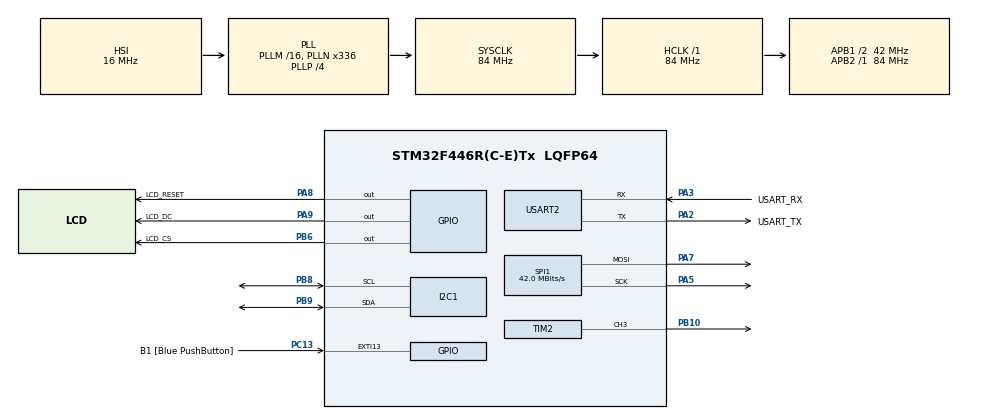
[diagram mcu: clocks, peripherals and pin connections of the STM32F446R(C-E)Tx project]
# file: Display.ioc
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Mcu.Family=STM32F4
Mcu.Name=STM32F446R(C-E)Tx
Mcu.Package=LQFP64
NVIC.PriorityGroup=NVIC_PRIORITYGROUP_0
PA13.GPIO_Label=TMS
PA13.Mode=Serial_Wire
PA13.Signal=SYS_JTMS-SWDIO
PA14.GPIO_Label=TCK
PA14.Mode=Serial_Wire
PA14.Signal=SYS_JTCK-SWCLK
PA2.GPIO_Label=USART_TX
PA2.Mode=Asynchronous
PA2.Signal=USART2_TX
PA3.GPIO_Label=USART_RX
PA3.Mode=Asynchronous
PA3.Signal=USART2_RX
PA5.Mode=TX_Only_Simplex_Unidirect_Master
PA5.Signal=SPI1_SCK
PA7.Mode=TX_Only_Simplex_Unidirect_Master
PA7.Signal=SPI1_MOSI
PA8.GPIO_Label=LCD_RESET
PA8.PinState=GPIO_PIN_SET
PA8.Signal=GPIO_Output
PA9.GPIO_Label=LCD_DC
PA9.PinState=GPIO_PIN_SET
PA9.Signal=GPIO_Output
PB10.Signal=S_TIM2_CH3
PB6.GPIO_Label=LCD_CS
PB6.PinState=GPIO_PIN_SET
PB6.Signal=GPIO_Output
PB8.GPIO_Pu=GPIO_PULLUP
PB8.Mode=I2C
PB8.Signal=I2C1_SCL
PB9.GPIO_Pu=GPIO_PULLUP
PB9.Mode=I2C
PB9.Signal=I2C1_SDA
PC13.GPIO_Label=B1 [Blue PushButton]
PC13.GPIO_ModeDefaultEXTI=GPIO_MODE_IT_FALLING
PC13.Signal=GPXTI13
PC14-OSC32_IN.Mode=LSE-External-Oscillator
PC14-OSC32_IN.Signal=RCC_OSC32_IN
PC15-OSC32_OUT.Mode=LSE-External-Oscillator
PC15-OSC32_OUT.Signal=RCC_OSC32_OUT
PH0-OSC_IN.Mode=HSE-External-Oscillator
PH0-OSC_IN.Signal=RCC_OSC_IN
PH1-OSC_OUT.Mode=HSE-External-Oscillator
PH1-OSC_OUT.Signal=RCC_OSC_OUT
ProjectManager.HeapSize=0x200
ProjectManager.StackSize=0x400
ProjectManager.TargetToolchain=STM32CubeIDE
RCC.48MHZClocksFreq_Value=84000000
RCC.AHBFreq_Value=84000000
RCC.APB1CLKDivider=RCC_HCLK_DIV2
RCC.APB1Freq_Value=42000000
RCC.APB1TimFreq_Value=84000000
RCC.APB2Freq_Value=84000000
RCC.APB2TimFreq_Value=84000000
RCC.CortexFreq_Value=84000000
RCC.FLatency-AdvancedSettings=FLASH_LATENCY_2
RCC.HCLKFreq_Value=84000000
RCC.HSE_VALUE=8000000
RCC.HSI_VALUE=16000000
RCC.PLLN=336
RCC.PLLP=RCC_PLLP_DIV4
RCC.SYSCLKFreq_VALUE=84000000
RCC.SYSCLKSource=RCC_SYSCLKSOURCE_PLLCLK
RCC.USBFreq_Value=168000000
RCC.VCOOutputFreq_Value=336000000
SH.S_TIM2_CH3.0=TIM2_CH3,PWM Generation3 CH3
SPI1.CalculateBaudRate=42.0 MBits/s
SPI1.Direction=SPI_DIRECTION_2LINES
SPI1.Mode=SPI_MODE_MASTER
SPI1.VirtualType=VM_MASTER
TIM2.Channel-PWM\ Generation3\ CH3=TIM_CHANNEL_3
TIM2.Period=999
USART2.VirtualMode=VM_ASYNC
board=NUCLEO-F446RE

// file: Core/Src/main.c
/* USER CODE BEGIN Header */
/**
 ******************************************************************************
 * @file           : main.c
 * @brief          : Main program body
 ******************************************************************************
 * @attention
 *
 * Copyright (c) 2026 STMicroelectronics.
 * All rights reserved.
 *
 * This software is licensed under terms that can be found in the LICENSE file
 * in the root directory of this software component.
 * If no LICENSE file comes with this software, it is provided AS-IS.
 *
 ******************************************************************************
 */
/* USER CODE END Header */
#include "main.h"

/* USER CODE BEGIN Includes */
#include <stdio.h>
#include "ssd1306.h"
#include "scd41.h"
#include "ili9488.h"
/* USER CODE END Includes */

I2C_HandleTypeDef hi2c1;

SPI_HandleTypeDef hspi1;

TIM_HandleTypeDef htim2;

UART_HandleTypeDef huart2;

void SystemClock_Config(void);
static void MX_GPIO_Init(void);
static void MX_I2C1_Init(void);
static void MX_USART2_UART_Init(void);
static void MX_SPI1_Init(void);
static void MX_TIM2_Init(void);

/* USER CODE BEGIN 0 */
int _write(int file, char *ptr, int len) {
	HAL_UART_Transmit(&huart2, (uint8_t*) ptr, len, HAL_MAX_DELAY);
	return len;
}

/* USER CODE END 0 */

int main(void) {

	/* MCU Configuration--------------------------------------------------------*/

	/* Reset of all peripherals, Initializes the Flash interface and the Systick. */
	HAL_Init();

	/* Configure the system clock */
	SystemClock_Config();

	/* Initialize all configured peripherals */
	MX_GPIO_Init();
	MX_I2C1_Init();
	MX_USART2_UART_Init();
	MX_SPI1_Init();
	MX_TIM2_Init();
	/* USER CODE BEGIN 2 */
	if (SSD1306_Init(&hi2c1) == HAL_OK) {
		printf("OLED detected!\r\n");
		SSD1306_UpdateScreen(&hi2c1);

	} else {
		printf("OLED NOT detected!\r\n");
	}

	if (SCD41_Init(&hi2c1) == SCD41_OK) {
		printf("CO2 Sensor detected! Starting measurement.\r\n");
		SCD41_StartMeasurement(&hi2c1);
	} else {
		printf("CO2 Sensor not detected.\r\n");
	}

	HAL_TIM_PWM_Start(&htim2, TIM_CHANNEL_3);
	ILI9488_SetBrightness(&htim2, 100);
	ILI9488_Init(&hspi1);
	printf("SPI Display ready!\r\n");
	ILI9488_DrawDashboardBackground(&hspi1);

	SCD41_Data scd_data;
	char co2_str[20];
	char temp_str[20];
	char humidity_str[20];

	/* USER CODE END 2 */

	/* Infinite loop */
	/* USER CODE BEGIN WHILE */
	while (1) {

		if (SCD41_DataReady(&hi2c1) == SCD41_OK) {
			if (SCD41_ReadMeasurement(&hi2c1, &scd_data) == SCD41_OK) {
				printf("CO2: %u ppm | T: %.2f C | RH: %.2f %%\r\n",
						scd_data.co2, scd_data.temperature, scd_data.humidity);
				sprintf(co2_str, "CO2: %u ppm", scd_data.co2);
				sprintf(temp_str, "Temp: %.1f C", scd_data.temperature);
				sprintf(humidity_str, "Hum: %.1f %%", scd_data.humidity);

				ILI9488_DrawDashboardData(&hspi1, scd_data);
			}
		}

		HAL_Delay(1000);

		/* USER CODE END WHILE */

	}
}

void SystemClock_Config(void) {
	RCC_OscInitTypeDef RCC_OscInitStruct = { 0 };
	RCC_ClkInitTypeDef RCC_ClkInitStruct = { 0 };

	/** Configure the main internal regulator output voltage
	 */
	__HAL_RCC_PWR_CLK_ENABLE();
	__HAL_PWR_VOLTAGESCALING_CONFIG(PWR_REGULATOR_VOLTAGE_SCALE3);

	/** Initializes the RCC Oscillators according to the specified parameters
	 * in the RCC_OscInitTypeDef structure.
	 */
	RCC_OscInitStruct.OscillatorType = RCC_OSCILLATORTYPE_HSI;
	RCC_OscInitStruct.HSIState = RCC_HSI_ON;
	RCC_OscInitStruct.HSICalibrationValue = RCC_HSICALIBRATION_DEFAULT;
	RCC_OscInitStruct.PLL.PLLState = RCC_PLL_ON;
	RCC_OscInitStruct.PLL.PLLSource = RCC_PLLSOURCE_HSI;
	RCC_OscInitStruct.PLL.PLLM = 16;
	RCC_OscInitStruct.PLL.PLLN = 336;
	RCC_OscInitStruct.PLL.PLLP = RCC_PLLP_DIV4;
	RCC_OscInitStruct.PLL.PLLQ = 2;
	RCC_OscInitStruct.PLL.PLLR = 2;
	if (HAL_RCC_OscConfig(&RCC_OscInitStruct) != HAL_OK) {
		Error_Handler();
	}

	/** Initializes the CPU, AHB and APB buses clocks
	 */
	RCC_ClkInitStruct.ClockType = RCC_CLOCKTYPE_HCLK | RCC_CLOCKTYPE_SYSCLK
			| RCC_CLOCKTYPE_PCLK1 | RCC_CLOCKTYPE_PCLK2;
	RCC_ClkInitStruct.SYSCLKSource = RCC_SYSCLKSOURCE_PLLCLK;
	RCC_ClkInitStruct.AHBCLKDivider = RCC_SYSCLK_DIV1;
	RCC_ClkInitStruct.APB1CLKDivider = RCC_HCLK_DIV2;
	RCC_ClkInitStruct.APB2CLKDivider = RCC_HCLK_DIV1;

	if (HAL_RCC_ClockConfig(&RCC_ClkInitStruct, FLASH_LATENCY_2) != HAL_OK) {
		Error_Handler();
	}
}

static void MX_I2C1_Init(void) {

	hi2c1.Instance = I2C1;
	hi2c1.Init.ClockSpeed = 100000;
	hi2c1.Init.DutyCycle = I2C_DUTYCYCLE_2;
	hi2c1.Init.OwnAddress1 = 0;
	hi2c1.Init.AddressingMode = I2C_ADDRESSINGMODE_7BIT;
	hi2c1.Init.DualAddressMode = I2C_DUALADDRESS_DISABLE;
	hi2c1.Init.OwnAddress2 = 0;
	hi2c1.Init.GeneralCallMode = I2C_GENERALCALL_DISABLE;
	hi2c1.Init.NoStretchMode = I2C_NOSTRETCH_DISABLE;
	if (HAL_I2C_Init(&hi2c1) != HAL_OK) {
		Error_Handler();
	}

}

static void MX_SPI1_Init(void) {

	/* SPI1 parameter configuration*/
	hspi1.Instance = SPI1;
	hspi1.Init.Mode = SPI_MODE_MASTER;
	hspi1.Init.Direction = SPI_DIRECTION_2LINES;
	hspi1.Init.DataSize = SPI_DATASIZE_8BIT;
	hspi1.Init.CLKPolarity = SPI_POLARITY_LOW;
	hspi1.Init.CLKPhase = SPI_PHASE_1EDGE;
	hspi1.Init.NSS = SPI_NSS_SOFT;
	hspi1.Init.BaudRatePrescaler = SPI_BAUDRATEPRESCALER_2;
	hspi1.Init.FirstBit = SPI_FIRSTBIT_MSB;
	hspi1.Init.TIMode = SPI_TIMODE_DISABLE;
	hspi1.Init.CRCCalculation = SPI_CRCCALCULATION_DISABLE;
	hspi1.Init.CRCPolynomial = 10;
	if (HAL_SPI_Init(&hspi1) != HAL_OK) {
		Error_Handler();
	}

}

static void MX_TIM2_Init(void) {

	TIM_MasterConfigTypeDef sMasterConfig = { 0 };
	TIM_OC_InitTypeDef sConfigOC = { 0 };

	htim2.Instance = TIM2;
	htim2.Init.Prescaler = 0;
	htim2.Init.CounterMode = TIM_COUNTERMODE_UP;
	htim2.Init.Period = 999;
	htim2.Init.ClockDivision = TIM_CLOCKDIVISION_DIV1;
	htim2.Init.AutoReloadPreload = TIM_AUTORELOAD_PRELOAD_DISABLE;
	if (HAL_TIM_PWM_Init(&htim2) != HAL_OK) {
		Error_Handler();
	}
	sMasterConfig.MasterOutputTrigger = TIM_TRGO_RESET;
	sMasterConfig.MasterSlaveMode = TIM_MASTERSLAVEMODE_DISABLE;
	if (HAL_TIMEx_MasterConfigSynchronization(&htim2, &sMasterConfig)
			!= HAL_OK) {
		Error_Handler();
	}
	sConfigOC.OCMode = TIM_OCMODE_PWM1;
	sConfigOC.Pulse = 0;
	sConfigOC.OCPolarity = TIM_OCPOLARITY_HIGH;
	sConfigOC.OCFastMode = TIM_OCFAST_DISABLE;
	if (HAL_TIM_PWM_ConfigChannel(&htim2, &sConfigOC, TIM_CHANNEL_3)
			!= HAL_OK) {
		Error_Handler();
	}
	HAL_TIM_MspPostInit(&htim2);

}

static void MX_USART2_UART_Init(void) {

	huart2.Instance = USART2;
	huart2.Init.BaudRate = 115200;
	huart2.Init.WordLength = UART_WORDLENGTH_8B;
	huart2.Init.StopBits = UART_STOPBITS_1;
	huart2.Init.Parity = UART_PARITY_NONE;
	huart2.Init.Mode = UART_MODE_TX_RX;
	huart2.Init.HwFlowCtl = UART_HWCONTROL_NONE;
	huart2.Init.OverSampling = UART_OVERSAMPLING_16;
	if (HAL_UART_Init(&huart2) != HAL_OK) {
		Error_Handler();
	}

}

static void MX_GPIO_Init(void) {
	GPIO_InitTypeDef GPIO_InitStruct = { 0 };

	/* GPIO Ports Clock Enable */
	__HAL_RCC_GPIOC_CLK_ENABLE();
	__HAL_RCC_GPIOH_CLK_ENABLE();
	__HAL_RCC_GPIOA_CLK_ENABLE();
	__HAL_RCC_GPIOB_CLK_ENABLE();

	/*Configure GPIO pin Output Level */
	HAL_GPIO_WritePin(GPIOA, LCD_RESET_Pin | LCD_DC_Pin, GPIO_PIN_SET);

	/*Configure GPIO pin Output Level */
	HAL_GPIO_WritePin(LCD_CS_GPIO_Port, LCD_CS_Pin, GPIO_PIN_SET);

	/*Configure GPIO pin : B1_Pin */
	GPIO_InitStruct.Pin = B1_Pin;
	GPIO_InitStruct.Mode = GPIO_MODE_IT_FALLING;
	GPIO_InitStruct.Pull = GPIO_NOPULL;
	HAL_GPIO_Init(B1_GPIO_Port, &GPIO_InitStruct);

	/*Configure GPIO pins : LCD_RESET_Pin LCD_DC_Pin */
	GPIO_InitStruct.Pin = LCD_RESET_Pin | LCD_DC_Pin;
	GPIO_InitStruct.Mode = GPIO_MODE_OUTPUT_PP;
	GPIO_InitStruct.Pull = GPIO_NOPULL;
	GPIO_InitStruct.Speed = GPIO_SPEED_FREQ_LOW;
	HAL_GPIO_Init(GPIOA, &GPIO_InitStruct);

	/*Configure GPIO pin : LCD_CS_Pin */
	GPIO_InitStruct.Pin = LCD_CS_Pin;
	GPIO_InitStruct.Mode = GPIO_MODE_OUTPUT_PP;
	GPIO_InitStruct.Pull = GPIO_NOPULL;
	GPIO_InitStruct.Speed = GPIO_SPEED_FREQ_LOW;
	HAL_GPIO_Init(LCD_CS_GPIO_Port, &GPIO_InitStruct);

}

void Error_Handler(void) {
	__disable_irq();
	while (1) {
	}
}
